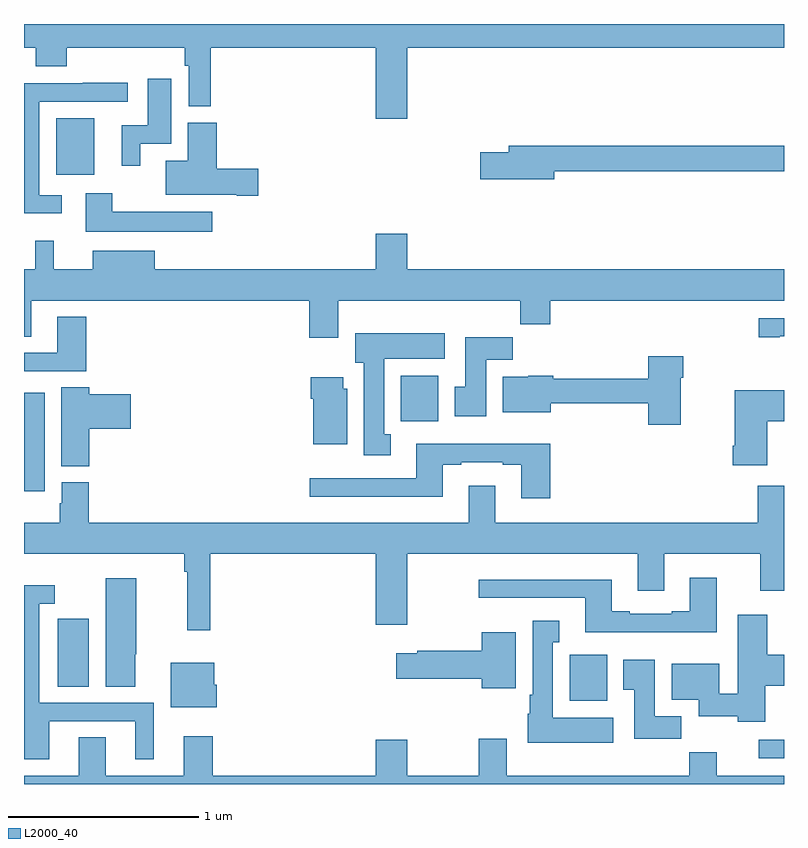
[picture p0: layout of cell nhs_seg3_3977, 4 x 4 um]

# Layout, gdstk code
import gdstk
lib = gdstk.Library(unit=1e-6, precision=1e-09)
def R(c, l, rs):  # rectangles x0, y0, x1, y1
    for r in rs: c.add(gdstk.rectangle(r[:2], r[2:], *l))
def P(c, l, *ps):  # polygons
    for p in ps: c.add(gdstk.Polygon(p, *l))
L2000_40 = (2000, 40)

nhs_seg3_3977 = lib.new_cell('nhs_seg3_3977')
R(nhs_seg3_3977, L2000_40, [(322.866,670.536,323,670.632), (321.872,670.838,322.069,671.08), (319.178,670.912,319.342,671.269), (319,671.94,319.108,672.46), (320.984,672.308,321.181,672.55), (319.169,673.607,319.369,673.903)])
P(nhs_seg3_3977, L2000_40, [(321.016,674.276),(323,674.276),(323,674.4),(319,674.4),(319,674.276),(319.061,674.276),(319.061,674.177),(319.226,674.177),(319.226,674.276),(319.846,674.276),(319.846,674.18),(319.866,674.18),(319.866,673.968),(319.982,673.968),(319.982,674.276),(320.852,674.276),(320.852,673.902),(321.016,673.902)],
  [(319.612,673.77),(319.774,673.77),(319.774,674.113),(319.652,674.113),(319.652,673.866),(319.514,673.866),(319.514,673.653),(319.612,673.653)],
  [(319.198,673.5),(319.08,673.5),(319.08,673.992),(319.546,673.992),(319.546,674.09),(319.309,674.09),(319.309,674.088),(319,674.088),(319,673.403),(319.198,673.403)],
  [(320.233,673.637),(320.015,673.637),(320.015,673.879),(319.862,673.879),(319.862,673.681),(319.745,673.681),(319.745,673.502),(320.12,673.502),(320.12,673.495),(320.233,673.495)],
  [(321.79,673.624),(323,673.624),(323,673.76),(321.551,673.76),(321.551,673.724),(321.402,673.724),(321.402,673.582),(321.79,673.582)],
  [(319.99,673.411),(319.465,673.411),(319.465,673.51),(319.325,673.51),(319.325,673.307),(319.99,673.307)],
  [(320.653,672.944),(321.613,672.944),(321.613,672.82),(321.77,672.82),(321.77,672.944),(323,672.944),(323,673.108),(321.016,673.108),(321.016,673.297),(320.852,673.297),(320.852,673.108),(319.687,673.108),(319.687,673.207),(319.361,673.207),(319.361,673.108),(319.157,673.108),(319.157,673.258),(319.059,673.258),(319.059,673.108),(319,673.108),(319,672.754),(319.039,672.754),(319.039,672.944),(320.501,672.944),(320.501,672.75),(320.653,672.75)],
  [(319.328,672.859),(319.175,672.859),(319.175,672.669),(319,672.669),(319,672.573),(319.328,672.573)],
  [(322.978,672.756),(323,672.756),(323,672.852),(322.866,672.852),(322.866,672.751),(322.978,672.751)],
  [(320.929,672.242),(320.896,672.242),(320.896,672.638),(321.214,672.638),(321.214,672.772),(320.744,672.772),(320.744,672.618),(320.789,672.618),(320.789,672.129),(320.929,672.129)],
  [(321.433,672.632),(321.572,672.632),(321.572,672.751),(321.323,672.751),(321.323,672.492),(321.266,672.492),(321.266,672.336),(321.433,672.336)],
  [(322.456,672.539),(322.469,672.539),(322.469,672.652),(322.286,672.652),(322.286,672.532),(321.785,672.532),(321.785,672.55),(321.654,672.55),(321.654,672.544),(321.521,672.544),(321.521,672.356),(321.772,672.356),(321.772,672.403),(322.286,672.403),(322.286,672.291),(322.456,672.291)],
  [(320.701,672.48),(320.68,672.48),(320.68,672.541),(320.51,672.541),(320.51,672.428),(320.522,672.428),(320.522,672.188),(320.701,672.188)],
  [(319.343,672.269),(319.561,672.269),(319.561,672.452),(319.343,672.452),(319.343,672.488),(319.196,672.488),(319.196,672.073),(319.343,672.073)],
  [(322.912,672.31),(323,672.31),(323,672.472),(322.742,672.472),(322.742,672.181),(322.73,672.181),(322.73,672.077),(322.912,672.077)],
  [(321.77,672.19),(321.065,672.19),(321.065,672.009),(320.505,672.009),(320.505,671.912),(321.205,671.912),(321.205,672.081),(321.301,672.081),(321.301,672.093),(321.521,672.093),(321.521,672.081),(321.617,672.081),(321.617,671.904),(321.77,671.904)],
  [(319.979,671.612),(320.852,671.612),(320.852,671.238),(321.016,671.238),(321.016,671.612),(322.229,671.612),(322.229,671.418),(322.369,671.418),(322.369,671.612),(322.874,671.612),(322.874,671.418),(323,671.418),(323,671.971),(322.862,671.971),(322.862,671.776),(321.481,671.776),(321.481,671.971),(321.341,671.971),(321.341,671.776),(319.34,671.776),(319.34,671.988),(319.199,671.988),(319.199,671.877),(319.187,671.877),(319.187,671.776),(319,671.776),(319,671.612),(319.843,671.612),(319.843,671.516),(319.858,671.516),(319.858,671.208),(319.979,671.208)],
  [(322.645,671.485),(322.505,671.485),(322.505,671.308),(322.409,671.308),(322.409,671.295),(322.189,671.295),(322.189,671.308),(322.093,671.308),(322.093,671.476),(321.393,671.476),(321.393,671.379),(321.953,671.379),(321.953,671.198),(322.645,671.198)],
  [(319.585,671.082),(319.591,671.082),(319.591,671.482),(319.43,671.482),(319.43,670.912),(319.585,670.912)],
  [(319.132,670.731),(319.586,670.731),(319.586,670.53),(319.684,670.53),(319.684,670.827),(319.08,670.827),(319.08,671.349),(319.162,671.349),(319.162,671.446),(319,671.446),(319,670.53),(319.132,670.53)],
  [(322.9,670.916),(323,670.916),(323,671.079),(322.912,671.079),(322.912,671.29),(322.757,671.29),(322.757,670.875),(322.66,670.875),(322.66,671.032),(322.409,671.032),(322.409,670.844),(322.55,670.844),(322.55,670.757),(322.757,670.757),(322.757,670.727),(322.9,670.727)],
  [(322.102,670.75),(321.784,670.75),(321.784,671.147),(321.817,671.147),(321.817,671.26),(321.677,671.26),(321.677,670.87),(321.662,670.87),(321.662,670.77),(321.65,670.77),(321.65,670.616),(322.102,670.616)],
  [(321.589,671.2),(321.41,671.2),(321.41,671.102),(321.07,671.102),(321.07,671.089),(320.958,671.089),(320.958,670.955),(321.41,670.955),(321.41,670.904),(321.589,670.904)],
  [(322.46,670.756),(322.321,670.756),(322.321,671.053),(322.154,671.053),(322.154,670.897),(322.211,670.897),(322.211,670.638),(322.46,670.638)],
  [(320.014,670.923),(320.002,670.923),(320.002,671.038),(319.772,671.038),(319.772,670.805),(320.014,670.805)],
  [(323,670.444),(322.645,670.444),(322.645,670.568),(322.501,670.568),(322.501,670.444),(321.541,670.444),(321.541,670.639),(321.394,670.639),(321.394,670.444),(321.016,670.444),(321.016,670.633),(320.852,670.633),(320.852,670.444),(319.994,670.444),(319.994,670.651),(319.841,670.651),(319.841,670.444),(319.429,670.444),(319.429,670.646),(319.289,670.646),(319.289,670.444),(319,670.444),(319,670.4),(323,670.4)])

lib.write_gds('nhs_seg3_3977.gds')
